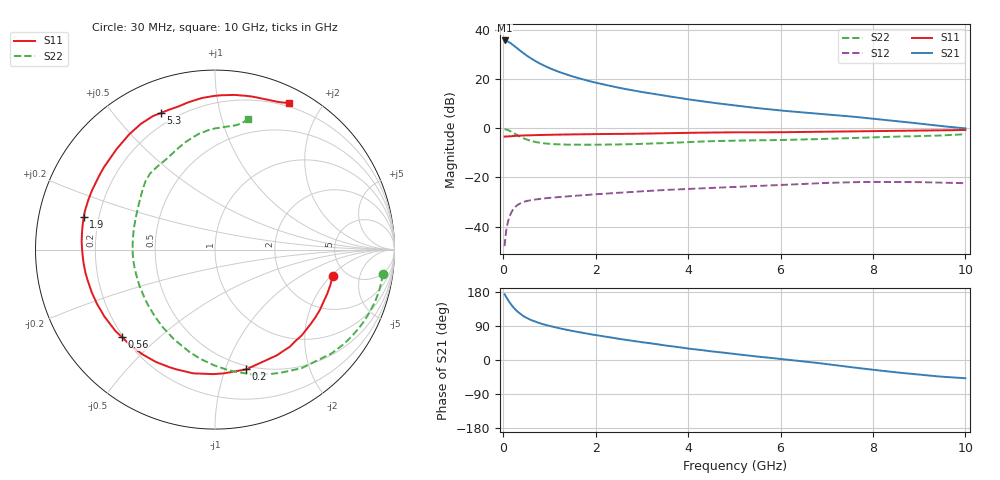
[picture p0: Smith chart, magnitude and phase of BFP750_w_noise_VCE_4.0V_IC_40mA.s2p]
! Infineon Technologies  Discrete & RF Semiconductors
! BFP750
! VCE =  4.0 V,  IC =  40 mA
! Common Emitter S-Parameters:  Jan 2016
# GHz  S  MA  R  50
!  f  S11  S21  S12  S22
! GHz  MAG  ANG  MAG  ANG  MAG  ANG  MAG  ANG
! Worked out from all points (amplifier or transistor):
!   229 points, 30 MHz to 10 GHz, reference 50 ohm
!   highest |S21| = 35.6 dB at 30 MHz (marker M1)
!   |S21| within 3 dB of that: start of sweep to 291.5 MHz
!   unconditionally stable (mu >= 1): 4.222 GHz to end of sweep
!   at 280 MHz: K = 0.18, MSG = 32.2 dB, |S12| = -31.7 dB
!   at 1.78 GHz: K = 0.66, MSG = 23.3 dB, |S12| = -27.2 dB
!   at 10 GHz: K = 1.06, MAG = 9.7 dB, |S12| = -22.4 dB
!   lowest NFmin = 0.94 dB at 450 MHz
!   S11 on the Smith chart (normalised r, x): 30 MHz: 3.91, -2.09; 200 MHz: 0.47, -1.18; 560 MHz: 0.19, -0.38; 1.9 GHz: 0.14, +0.12; 5.3 GHz: 0.14, +0.67; 10 GHz: 0.16, +1.61
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0.03  0.6712 -12.6  60.09 173.4  0.004 70.6  0.9451 -8.3
0.05  0.6722 -21.5  59.92 168.8  0.0063 72.7  0.9425 -14.2
0.08  0.6751 -33.9  58.61 163.1  0.0101 69.1  0.9273 -23.0
0.12  0.6786 -48.8  55.96 155.2  0.0143 64.8  0.8967 -34.1
0.15  0.6827 -59.5  53.88 149.8  0.0173 61.0  0.8686 -41.9
0.2  0.6895 -75.4  49.75 141.6  0.0213 54.8  0.8181 -53.9
0.26  0.6939 -90.7  44.95 133.6  0.025 48.8  0.7574 -66.3
0.36  0.7027 -111.1  37.71 122.6  0.0293 40.9  0.6725 -84.3
0.45  0.7098 -124.7  32.48 114.9  0.0318 35.9  0.615 -97.4
0.56  0.7121 -136.8  27.54 108.1  0.0338 31.7  0.5628 -110.1
0.7  0.7202 -148.8  22.78 100.7  0.0356 28.0  0.5216 -123.8
0.92  0.7269 -161.8  17.85 92.4  0.0376 24.8  0.4857 -139.5
1.3  0.7384 -177.3  12.86 81.4  0.0404 22.0  0.4631 -158.3
1.7  0.7489 170.9  9.879 72.1  0.0431 20.5  0.4588 -172.0
1.9  0.7539 166.0  8.81 67.8  0.0445 19.8  0.4592 -177.7
2.6  0.7621 150.9  6.314 54.1  0.0492 17.5  0.4671 165.3
3.4  0.7794 136.3  4.685 40.4  0.0546 14.1  0.491 150.4
5.1  0.8197 113.8  2.813 14.6  0.0645 5.8  0.5579 129.3
5.3  0.8193 111.5  2.674 11.9  0.0656 4.7  0.5602 126.9
6.8  0.8414 97.1  1.968 -7.8  0.0755 -4.6  0.5966 111.0
8.4  0.875 78.0  1.418 -31.2  0.0807 -19.1  0.6675 92.9
10  0.9158 63.2  0.986 -48.1  0.076 -30.3  0.7501 75.6
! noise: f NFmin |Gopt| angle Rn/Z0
0.45  0.94  0.16  -166  0.41
0.9  0.96  0.2  -161  0.2
1.5  0.98  0.29  -157  0.08
1.9  0.99  0.31  -152  0.07
2.4  1  0.32  -145  0.08
3.5  1.23  0.35  -131  0.09
